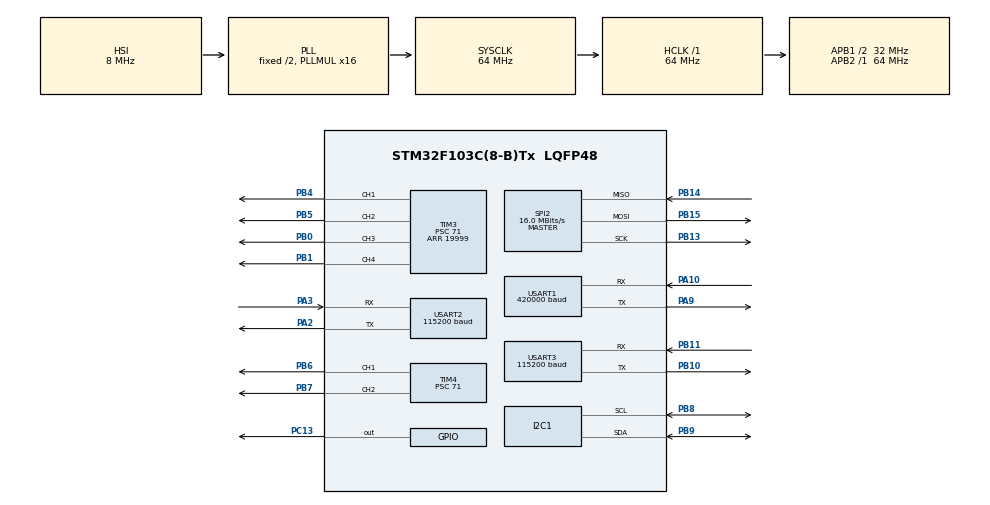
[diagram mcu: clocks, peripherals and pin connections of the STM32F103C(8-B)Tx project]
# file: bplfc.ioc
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I2C1.I2C_Mode=I2C_Standard
Mcu.Family=STM32F1
Mcu.Name=STM32F103C(8-B)Tx
Mcu.Package=LQFP48
NVIC.PriorityGroup=NVIC_PRIORITYGROUP_4
NVIC.USART1_IRQn=true\:0\:0\:false\:false\:true\:true\:true\:true
PA10.Mode=Asynchronous
PA10.Signal=USART1_RX
PA13.Mode=Serial_Wire
PA13.Signal=SYS_JTMS-SWDIO
PA14.Mode=Serial_Wire
PA14.Signal=SYS_JTCK-SWCLK
PA2.Mode=Asynchronous
PA2.Signal=USART2_TX
PA3.Mode=Asynchronous
PA3.Signal=USART2_RX
PA9.Mode=Asynchronous
PA9.Signal=USART1_TX
PB0.Signal=S_TIM3_CH3
PB1.Signal=S_TIM3_CH4
PB10.Mode=Asynchronous
PB10.Signal=USART3_TX
PB11.Mode=Asynchronous
PB11.Signal=USART3_RX
PB13.Mode=Full_Duplex_Master
PB13.Signal=SPI2_SCK
PB14.Mode=Full_Duplex_Master
PB14.Signal=SPI2_MISO
PB15.Mode=Full_Duplex_Master
PB15.Signal=SPI2_MOSI
PB4.Signal=S_TIM3_CH1
PB5.Signal=S_TIM3_CH2
PB6.Signal=S_TIM4_CH1
PB7.Signal=S_TIM4_CH2
PB8.Mode=I2C
PB8.Signal=I2C1_SCL
PB9.Mode=I2C
PB9.Signal=I2C1_SDA
PC13-TAMPER-RTC.Signal=GPIO_Output
PC14-OSC32_IN.Mode=LSE-External-Oscillator
PC14-OSC32_IN.Signal=RCC_OSC32_IN
PC15-OSC32_OUT.Mode=LSE-External-Oscillator
PC15-OSC32_OUT.Signal=RCC_OSC32_OUT
PD0-OSC_IN.Mode=HSE-External-Oscillator
PD0-OSC_IN.Signal=RCC_OSC_IN
PD1-OSC_OUT.Mode=HSE-External-Oscillator
PD1-OSC_OUT.Signal=RCC_OSC_OUT
ProjectManager.HeapSize=0x200
ProjectManager.StackSize=0x400
ProjectManager.TargetToolchain=STM32CubeIDE
RCC.AHBFreq_Value=64000000
RCC.APB1CLKDivider=RCC_HCLK_DIV2
RCC.APB1Freq_Value=32000000
RCC.APB1TimFreq_Value=64000000
RCC.APB2Freq_Value=64000000
RCC.APB2TimFreq_Value=64000000
RCC.HCLKFreq_Value=64000000
RCC.PLLMUL=RCC_PLL_MUL16
RCC.PLLSourceVirtual=RCC_PLLSOURCE_HSI_DIV2
RCC.SYSCLKFreq_VALUE=64000000
RCC.SYSCLKSource=RCC_SYSCLKSOURCE_PLLCLK
RCC.USBFreq_Value=64000000
SH.S_TIM3_CH1.0=TIM3_CH1,PWM Generation1 CH1
SH.S_TIM3_CH2.0=TIM3_CH2,PWM Generation2 CH2
SH.S_TIM3_CH3.0=TIM3_CH3,PWM Generation3 CH3
SH.S_TIM3_CH4.0=TIM3_CH4,PWM Generation4 CH4
SH.S_TIM4_CH1.0=TIM4_CH1,PWM Generation1 CH1
SH.S_TIM4_CH2.0=TIM4_CH2,PWM Generation2 CH2
SPI2.CalculateBaudRate=16.0 MBits/s
SPI2.Direction=SPI_DIRECTION_2LINES
SPI2.Mode=SPI_MODE_MASTER
SPI2.VirtualType=VM_MASTER
TIM3.Channel-PWM\ Generation1\ CH1=TIM_CHANNEL_1
TIM3.Channel-PWM\ Generation2\ CH2=TIM_CHANNEL_2
TIM3.Channel-PWM\ Generation3\ CH3=TIM_CHANNEL_3
TIM3.Channel-PWM\ Generation4\ CH4=TIM_CHANNEL_4
TIM3.Period=19999
TIM3.Prescaler=71
TIM4.Channel-PWM\ Generation1\ CH1=TIM_CHANNEL_1
TIM4.Channel-PWM\ Generation2\ CH2=TIM_CHANNEL_2
TIM4.Period=19999
TIM4.Prescaler=71
USART1.BaudRate=420000
USART1.VirtualMode=VM_ASYNC
USART2.BaudRate=115200
USART2.VirtualMode=VM_ASYNC
USART3.BaudRate=115200
USART3.VirtualMode=VM_ASYNC
VP_TIM3_VS_ClockSourceINT.Mode=Internal
VP_TIM4_VS_ClockSourceINT.Mode=Internal
board=custom

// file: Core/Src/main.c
/* USER CODE BEGIN Header */
/**
 ******************************************************************************
 * @file           : main.c
 * @brief          : Main program body
 ******************************************************************************
 * @attention
 *
 * Copyright (c) 2025 STMicroelectronics.
 * All rights reserved.
 *
 * This software is licensed under terms that can be found in the LICENSE file
 * in the root directory of this software component.
 * If no LICENSE file comes with this software, it is provided AS-IS.
 *
 ******************************************************************************
 */
/* USER CODE END Header */
#include "main.h"

/* USER CODE BEGIN Includes */
#include "crsf.h"
#include <string.h>
#include <stdarg.h>
#include <stdint.h>
#include "mpu6050.h"
/* USER CODE END Includes */

/* USER CODE BEGIN PTD */
#define CRSF_SYNC 0xC8
/* USER CODE END PTD */

/* USER CODE BEGIN PD */
#define LIMIT(x,min,max) ((x)<(min)?(min):((x)>(max)?(max):(x)))
/* USER CODE END PD */

I2C_HandleTypeDef hi2c1;

SPI_HandleTypeDef hspi2;

TIM_HandleTypeDef htim3;
TIM_HandleTypeDef htim4;

UART_HandleTypeDef huart1;
UART_HandleTypeDef huart2;
UART_HandleTypeDef huart3;

/* USER CODE BEGIN PV */
MPU6050_t MPU6050;
uint32_t last_mpu_read = 0;

// PID / Gain
float gyro_gain = 0.6f;

// PWM output
int pwm_roll, pwm_pitch, pwm_yaw;
/* USER CODE END PV */

void SystemClock_Config(void);
static void MX_GPIO_Init(void);
static void MX_USART1_UART_Init(void);
static void MX_USART2_UART_Init(void);
static void MX_TIM3_Init(void);
static void MX_TIM4_Init(void);
static void MX_I2C1_Init(void);
static void MX_SPI2_Init(void);
static void MX_USART3_UART_Init(void);
/* USER CODE BEGIN PFP */

int crsf_raw_to_us(uint16_t v) {
	return ((v - 172) * 1000 / (1811 - 172)) + 1000;
}

void debug_printf(char *fmt, ...) {
	char buf[128];
	va_list args;
	va_start(args, fmt);
	vsnprintf(buf, sizeof(buf), fmt, args);
	va_end(args);
	HAL_UART_Transmit(&huart2, (uint8_t*) buf, strlen(buf), HAL_MAX_DELAY);
}

void set_pwm() {
	/* USER CODE BEGIN set_pwm */
	// TIM3 CH1–CH4
	__HAL_TIM_SET_COMPARE(&htim3, TIM_CHANNEL_1, crsf_channels_us[0]);
	__HAL_TIM_SET_COMPARE(&htim3, TIM_CHANNEL_2, crsf_channels_us[1]);
	__HAL_TIM_SET_COMPARE(&htim3, TIM_CHANNEL_3, crsf_channels_us[2]);
	__HAL_TIM_SET_COMPARE(&htim3, TIM_CHANNEL_4, crsf_channels_us[3]);

	// TIM4 CH1–CH4
//    __HAL_TIM_SET_COMPARE(&htim4,TIM_CHANNEL_1,crsf_channels_us[4]);
	__HAL_TIM_SET_COMPARE(&htim4, TIM_CHANNEL_2, crsf_channels_us[5]);
	__HAL_TIM_SET_COMPARE(&htim4, TIM_CHANNEL_3, crsf_channels_us[6]);
	__HAL_TIM_SET_COMPARE(&htim4, TIM_CHANNEL_4, crsf_channels_us[7]);
	/* USER CODE END set_pwm */
}

float rc_to_norm(uint16_t us)
{
    return (us - 1500.0f) / 500.0f;
}

int norm_to_pwm(float v)
{
    return 1500 + (int)(v * 500.0f);
}

/* USER CODE END PFP */

/* USER CODE BEGIN 0 */
uint32_t millis(void) {
	return HAL_GetTick();
}

void HAL_UART_RxCpltCallback(UART_HandleTypeDef *huart) {
	if (huart->Instance == USART1) {
		crsf_on_byte(rx_byte);

		HAL_UART_Receive_IT(&huart1, &rx_byte, 1);
	}
}

/* USER CODE END 0 */

int main(void) {

	/* MCU Configuration--------------------------------------------------------*/

	/* Reset of all peripherals, Initializes the Flash interface and the Systick. */
	HAL_Init();

	/* USER CODE BEGIN Init */
//  printf("Hello from Blue Pill via ST-LINK!\r\n");
	/* USER CODE END Init */

	/* Configure the system clock */
	SystemClock_Config();

	/* Initialize all configured peripherals */
	MX_GPIO_Init();
	MX_USART1_UART_Init();
	MX_USART2_UART_Init();
	MX_TIM3_Init();
	MX_TIM4_Init();
	MX_I2C1_Init();
	MX_SPI2_Init();
	MX_USART3_UART_Init();
	/* USER CODE BEGIN 2 */

	crsf_init();
	HAL_UART_Receive_IT(&huart1, &rx_byte, 1);

	// START PWM channels (pastikan htim3/htim4 sudah di-init)
	HAL_TIM_PWM_Start(&htim3, TIM_CHANNEL_1);
	HAL_TIM_PWM_Start(&htim3, TIM_CHANNEL_2);
	HAL_TIM_PWM_Start(&htim3, TIM_CHANNEL_3);
	HAL_TIM_PWM_Start(&htim3, TIM_CHANNEL_4);

	HAL_TIM_PWM_Start(&htim4, TIM_CHANNEL_1);
	HAL_TIM_PWM_Start(&htim4, TIM_CHANNEL_2);
//  HAL_TIM_PWM_Start(&htim4, TIM_CHANNEL_3);
//  HAL_TIM_PWM_Start(&htim4, TIM_CHANNEL_4);
	if (MPU6050_Init(&hi2c1) != 0)
	{
	    debug_printf("MPU6050 FAIL\r\n");
	}
	else
	{
	    debug_printf("MPU6050 OK\r\n");
	}
	/* USER CODE END 2 */

	/* Infinite loop */
	/* USER CODE BEGIN WHILE */

//	debug_printf("CR1=%04X CCER=%04X CCMR1=%04X CCR1=%lu\r\n",
//	    TIM3->CR1,
//	    TIM3->CCER,
//	    TIM3->CCMR1,
//	    TIM3->CCR1
//	);
	__HAL_TIM_SET_COMPARE(&htim3, TIM_CHANNEL_1, 1500);
	__HAL_TIM_SET_COMPARE(&htim3, TIM_CHANNEL_2, 1500);
	__HAL_TIM_SET_COMPARE(&htim3, TIM_CHANNEL_3, 1500);
	__HAL_TIM_SET_COMPARE(&htim3, TIM_CHANNEL_4, 1500);

	__HAL_TIM_SET_COMPARE(&htim4, TIM_CHANNEL_1, 1500);
	__HAL_TIM_SET_COMPARE(&htim4, TIM_CHANNEL_2, 1500);

	while (1) {
		//		for(uint8_t addr=1; addr<128; addr++) {
		//		    if(HAL_I2C_IsDeviceReady(&hi2c1, addr<<1, 1, 10) == HAL_OK) {
		//		        debug_printf("Found device at 0x%02X\r\n", addr);
		//		    }
		//		}

		uint32_t now = millis();
		/* ===== MPU6050 @100Hz ===== */
		if (now - last_mpu_read >= 10) {
			last_mpu_read = now;
			MPU6050_Read_All(&hi2c1, &MPU6050);
		}

		/* === RC normalize === */
		    float rc_roll  = rc_to_norm(crsf_channels_us[0]);
		    float rc_pitch = rc_to_norm(crsf_channels_us[1]);
		    float rc_yaw   = rc_to_norm(crsf_channels_us[3]);

		    /* === Gyro normalize === */
		    float gyro_roll  = MPU6050.Gx / 200.0f;
		    float gyro_pitch = MPU6050.Gy / 200.0f;
		    float gyro_yaw   = MPU6050.Gz / 200.0f;

		    /* === P controller === */
		    float roll_out  = rc_roll  - gyro_roll  * gyro_gain;
		    float pitch_out = rc_pitch - gyro_pitch * gyro_gain;
		    float yaw_out   = rc_yaw   - gyro_yaw   * gyro_gain;

		    /* === Convert to PWM === */
		    pwm_roll  = LIMIT(norm_to_pwm(roll_out),  1000, 2000);
		    pwm_pitch = LIMIT(norm_to_pwm(pitch_out), 1000, 2000);
		    pwm_yaw   = LIMIT(norm_to_pwm(yaw_out),   1000, 2000);

		    /* === Output === */
		    __HAL_TIM_SET_COMPARE(&htim3, TIM_CHANNEL_1, pwm_roll);
		    __HAL_TIM_SET_COMPARE(&htim3, TIM_CHANNEL_2, pwm_pitch);
		    __HAL_TIM_SET_COMPARE(&htim3, TIM_CHANNEL_3, crsf_channels_us[2]);
		    __HAL_TIM_SET_COMPARE(&htim3, TIM_CHANNEL_4, pwm_yaw);

//		set_pwm();

		// --- write other channels (pilot only) ---
		static uint32_t last_debug = 0;
		if (millis() - last_debug > 50) {
			last_debug = millis();
//			debug_printf(
//					"CH1=%d CH2=%d CH3=%d CH4=%d | CH5=%d CH6=%d CH7=%d CH8=%d\r\n",
//					crsf_channels_us[0], crsf_channels_us[1],
//					crsf_channels_us[2], crsf_channels_us[3],
//					crsf_channels_us[4], crsf_channels_us[5],
//					crsf_channels_us[6], crsf_channels_us[7]);

//			debug_printf(
//			    "RC R=%.2f P=%.2f | Gx=%.1f Gy=%.1f | PWM R=%d P=%d\r\n",
//			    rc_roll, rc_pitch,
//			    MPU6050.Gx, MPU6050.Gy,
//			    pwm_roll, pwm_pitch
//			);
		}
		/* USER CODE END WHILE */

	}
}

void SystemClock_Config(void) {
	RCC_OscInitTypeDef RCC_OscInitStruct = { 0 };
	RCC_ClkInitTypeDef RCC_ClkInitStruct = { 0 };

	/** Initializes the RCC Oscillators according to the specified parameters
	 * in the RCC_OscInitTypeDef structure.
	 */
	RCC_OscInitStruct.OscillatorType = RCC_OSCILLATORTYPE_HSI;
	RCC_OscInitStruct.HSIState = RCC_HSI_ON;
	RCC_OscInitStruct.HSICalibrationValue = RCC_HSICALIBRATION_DEFAULT;
	RCC_OscInitStruct.PLL.PLLState = RCC_PLL_ON;
	RCC_OscInitStruct.PLL.PLLSource = RCC_PLLSOURCE_HSI_DIV2;
	RCC_OscInitStruct.PLL.PLLMUL = RCC_PLL_MUL16;
	if (HAL_RCC_OscConfig(&RCC_OscInitStruct) != HAL_OK) {
		Error_Handler();
	}

	/** Initializes the CPU, AHB and APB buses clocks
	 */
	RCC_ClkInitStruct.ClockType = RCC_CLOCKTYPE_HCLK | RCC_CLOCKTYPE_SYSCLK
			| RCC_CLOCKTYPE_PCLK1 | RCC_CLOCKTYPE_PCLK2;
	RCC_ClkInitStruct.SYSCLKSource = RCC_SYSCLKSOURCE_PLLCLK;
	RCC_ClkInitStruct.AHBCLKDivider = RCC_SYSCLK_DIV1;
	RCC_ClkInitStruct.APB1CLKDivider = RCC_HCLK_DIV2;
	RCC_ClkInitStruct.APB2CLKDivider = RCC_HCLK_DIV1;

	if (HAL_RCC_ClockConfig(&RCC_ClkInitStruct, FLASH_LATENCY_2) != HAL_OK) {
		Error_Handler();
	}
}

static void MX_I2C1_Init(void) {

	hi2c1.Instance = I2C1;
	hi2c1.Init.ClockSpeed = 100000;
	hi2c1.Init.DutyCycle = I2C_DUTYCYCLE_2;
	hi2c1.Init.OwnAddress1 = 0;
	hi2c1.Init.AddressingMode = I2C_ADDRESSINGMODE_7BIT;
	hi2c1.Init.DualAddressMode = I2C_DUALADDRESS_DISABLE;
	hi2c1.Init.OwnAddress2 = 0;
	hi2c1.Init.GeneralCallMode = I2C_GENERALCALL_DISABLE;
	hi2c1.Init.NoStretchMode = I2C_NOSTRETCH_DISABLE;
	if (HAL_I2C_Init(&hi2c1) != HAL_OK) {
		Error_Handler();
	}

}

static void MX_SPI2_Init(void) {

	/* SPI2 parameter configuration*/
	hspi2.Instance = SPI2;
	hspi2.Init.Mode = SPI_MODE_MASTER;
	hspi2.Init.Direction = SPI_DIRECTION_2LINES;
	hspi2.Init.DataSize = SPI_DATASIZE_8BIT;
	hspi2.Init.CLKPolarity = SPI_POLARITY_LOW;
	hspi2.Init.CLKPhase = SPI_PHASE_1EDGE;
	hspi2.Init.NSS = SPI_NSS_SOFT;
	hspi2.Init.BaudRatePrescaler = SPI_BAUDRATEPRESCALER_2;
	hspi2.Init.FirstBit = SPI_FIRSTBIT_MSB;
	hspi2.Init.TIMode = SPI_TIMODE_DISABLE;
	hspi2.Init.CRCCalculation = SPI_CRCCALCULATION_DISABLE;
	hspi2.Init.CRCPolynomial = 10;
	if (HAL_SPI_Init(&hspi2) != HAL_OK) {
		Error_Handler();
	}

}

static void MX_TIM3_Init(void) {

	TIM_ClockConfigTypeDef sClockSourceConfig = { 0 };
	TIM_MasterConfigTypeDef sMasterConfig = { 0 };
	TIM_OC_InitTypeDef sConfigOC = { 0 };

	htim3.Instance = TIM3;
	htim3.Init.Prescaler = 71;
	htim3.Init.CounterMode = TIM_COUNTERMODE_UP;
	htim3.Init.Period = 19999;
	htim3.Init.ClockDivision = TIM_CLOCKDIVISION_DIV1;
	htim3.Init.AutoReloadPreload = TIM_AUTORELOAD_PRELOAD_DISABLE;
	if (HAL_TIM_Base_Init(&htim3) != HAL_OK) {
		Error_Handler();
	}
	sClockSourceConfig.ClockSource = TIM_CLOCKSOURCE_INTERNAL;
	if (HAL_TIM_ConfigClockSource(&htim3, &sClockSourceConfig) != HAL_OK) {
		Error_Handler();
	}
	if (HAL_TIM_PWM_Init(&htim3) != HAL_OK) {
		Error_Handler();
	}
	sMasterConfig.MasterOutputTrigger = TIM_TRGO_RESET;
	sMasterConfig.MasterSlaveMode = TIM_MASTERSLAVEMODE_DISABLE;
	if (HAL_TIMEx_MasterConfigSynchronization(&htim3, &sMasterConfig)
			!= HAL_OK) {
		Error_Handler();
	}
	sConfigOC.OCMode = TIM_OCMODE_PWM1;
	sConfigOC.Pulse = 0;
	sConfigOC.OCPolarity = TIM_OCPOLARITY_HIGH;
	sConfigOC.OCFastMode = TIM_OCFAST_DISABLE;
	if (HAL_TIM_PWM_ConfigChannel(&htim3, &sConfigOC, TIM_CHANNEL_1)
			!= HAL_OK) {
		Error_Handler();
	}
	if (HAL_TIM_PWM_ConfigChannel(&htim3, &sConfigOC, TIM_CHANNEL_2)
			!= HAL_OK) {
		Error_Handler();
	}
	if (HAL_TIM_PWM_ConfigChannel(&htim3, &sConfigOC, TIM_CHANNEL_3)
			!= HAL_OK) {
		Error_Handler();
	}
	if (HAL_TIM_PWM_ConfigChannel(&htim3, &sConfigOC, TIM_CHANNEL_4)
			!= HAL_OK) {
		Error_Handler();
	}
	HAL_TIM_MspPostInit(&htim3);

}

static void MX_TIM4_Init(void) {

	TIM_ClockConfigTypeDef sClockSourceConfig = { 0 };
	TIM_MasterConfigTypeDef sMasterConfig = { 0 };
	TIM_OC_InitTypeDef sConfigOC = { 0 };

	htim4.Instance = TIM4;
	htim4.Init.Prescaler = 71;
	htim4.Init.CounterMode = TIM_COUNTERMODE_UP;
	htim4.Init.Period = 19999;
	htim4.Init.ClockDivision = TIM_CLOCKDIVISION_DIV1;
	htim4.Init.AutoReloadPreload = TIM_AUTORELOAD_PRELOAD_DISABLE;
	if (HAL_TIM_Base_Init(&htim4) != HAL_OK) {
		Error_Handler();
	}
	sClockSourceConfig.ClockSource = TIM_CLOCKSOURCE_INTERNAL;
	if (HAL_TIM_ConfigClockSource(&htim4, &sClockSourceConfig) != HAL_OK) {
		Error_Handler();
	}
	if (HAL_TIM_PWM_Init(&htim4) != HAL_OK) {
		Error_Handler();
	}
	sMasterConfig.MasterOutputTrigger = TIM_TRGO_RESET;
	sMasterConfig.MasterSlaveMode = TIM_MASTERSLAVEMODE_DISABLE;
	if (HAL_TIMEx_MasterConfigSynchronization(&htim4, &sMasterConfig)
			!= HAL_OK) {
		Error_Handler();
	}
	sConfigOC.OCMode = TIM_OCMODE_PWM1;
	sConfigOC.Pulse = 0;
	sConfigOC.OCPolarity = TIM_OCPOLARITY_HIGH;
	sConfigOC.OCFastMode = TIM_OCFAST_DISABLE;
	if (HAL_TIM_PWM_ConfigChannel(&htim4, &sConfigOC, TIM_CHANNEL_1)
			!= HAL_OK) {
		Error_Handler();
	}
	if (HAL_TIM_PWM_ConfigChannel(&htim4, &sConfigOC, TIM_CHANNEL_2)
			!= HAL_OK) {
		Error_Handler();
	}
	HAL_TIM_MspPostInit(&htim4);

}

static void MX_USART1_UART_Init(void) {

	huart1.Instance = USART1;
	huart1.Init.BaudRate = 420000;
	huart1.Init.WordLength = UART_WORDLENGTH_8B;
	huart1.Init.StopBits = UART_STOPBITS_1;
	huart1.Init.Parity = UART_PARITY_NONE;
	huart1.Init.Mode = UART_MODE_TX_RX;
	huart1.Init.HwFlowCtl = UART_HWCONTROL_NONE;
	huart1.Init.OverSampling = UART_OVERSAMPLING_16;
	if (HAL_UART_Init(&huart1) != HAL_OK) {
		Error_Handler();
	}

}

static void MX_USART2_UART_Init(void) {

	huart2.Instance = USART2;
	huart2.Init.BaudRate = 115200;
	huart2.Init.WordLength = UART_WORDLENGTH_8B;
	huart2.Init.StopBits = UART_STOPBITS_1;
	huart2.Init.Parity = UART_PARITY_NONE;
	huart2.Init.Mode = UART_MODE_TX_RX;
	huart2.Init.HwFlowCtl = UART_HWCONTROL_NONE;
	huart2.Init.OverSampling = UART_OVERSAMPLING_16;
	if (HAL_UART_Init(&huart2) != HAL_OK) {
		Error_Handler();
	}

}

static void MX_USART3_UART_Init(void) {

	huart3.Instance = USART3;
	huart3.Init.BaudRate = 115200;
	huart3.Init.WordLength = UART_WORDLENGTH_8B;
	huart3.Init.StopBits = UART_STOPBITS_1;
	huart3.Init.Parity = UART_PARITY_NONE;
	huart3.Init.Mode = UART_MODE_TX_RX;
	huart3.Init.HwFlowCtl = UART_HWCONTROL_NONE;
	huart3.Init.OverSampling = UART_OVERSAMPLING_16;
	if (HAL_UART_Init(&huart3) != HAL_OK) {
		Error_Handler();
	}

}

static void MX_GPIO_Init(void) {
	GPIO_InitTypeDef GPIO_InitStruct = { 0 };

	/* GPIO Ports Clock Enable */
	__HAL_RCC_GPIOC_CLK_ENABLE();
	__HAL_RCC_GPIOD_CLK_ENABLE();
	__HAL_RCC_GPIOA_CLK_ENABLE();
	__HAL_RCC_GPIOB_CLK_ENABLE();

	/*Configure GPIO pin Output Level */
	HAL_GPIO_WritePin(GPIOC, GPIO_PIN_13, GPIO_PIN_RESET);

	/*Configure GPIO pin : PC13 */
	GPIO_InitStruct.Pin = GPIO_PIN_13;
	GPIO_InitStruct.Mode = GPIO_MODE_OUTPUT_PP;
	GPIO_InitStruct.Pull = GPIO_NOPULL;
	GPIO_InitStruct.Speed = GPIO_SPEED_FREQ_LOW;
	HAL_GPIO_Init(GPIOC, &GPIO_InitStruct);

}

void Error_Handler(void) {
	__disable_irq();
	while (1) {
	}
}
